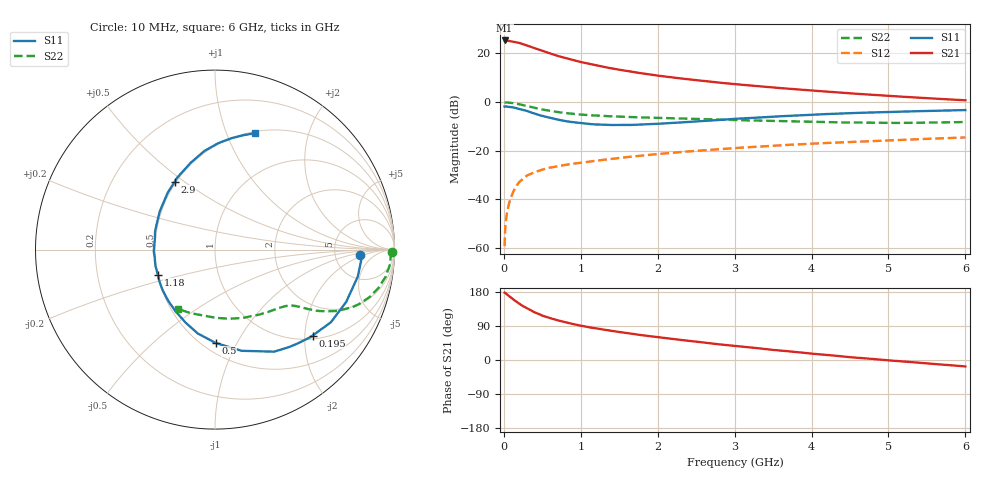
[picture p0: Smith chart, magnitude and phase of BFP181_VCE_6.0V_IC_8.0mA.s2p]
! Infineon Technologies  Discrete & RF Semiconductors
! BFP181
! VCE = 6.0 V,  IC =  8.0 mA
! Common Emitter S-Parameters:  Jan 2016
# GHz  S  MA  R  50
!  f  S11  S21  S12  S22
! GHz  MAG  ANG  MAG  ANG  MAG  ANG  MAG  ANG
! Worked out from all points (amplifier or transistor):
!   210 points, 10 MHz to 6 GHz, reference 50 ohm
!   highest |S21| = 25.3 dB at 10 MHz (marker M1)
!   |S21| within 3 dB of that: start of sweep to 386.1 MHz
!   unconditionally stable (mu >= 1): 1.439 GHz to end of sweep
!   at 185 MHz: K = 0.22, MSG = 28.9 dB, |S12| = -33.5 dB
!   at 1.52 GHz: K = 1.02, MAG = 17.3 dB, |S12| = -22.9 dB
!   at 6 GHz: K = 1.03, MAG = 6.5 dB, |S12| = -14.5 dB
!   S11 on the Smith chart (normalised r, x): 10 MHz: 9.21, -1.58; 195 MHz: 1.08, -2.19; 500 MHz: 0.58, -0.83; 1.18 GHz: 0.50, -0.16; 2.9 GHz: 0.49, +0.46; 6 GHz: 0.52, +1.26
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0.01  0.8093 -2.1  18.41 177.7  0.0011 91.8  0.9851 -0.8
0.035  0.8119 -7.5  18.2 174.1  0.0046 87.3  0.9793 -3.2
0.05  0.8098 -10.7  18.2 171.5  0.0063 85.5  0.9795 -4.7
0.1  0.7868 -21.8  17.62 163.5  0.0119 77.7  0.9616 -9.2
0.15  0.762 -32.1  17.04 155.8  0.0175 73.5  0.9345 -13.3
0.195  0.7245 -41.4  16.45 149.3  0.0223 69.2  0.9048 -16.6
0.24  0.6942 -49.4  15.58 143.3  0.0258 65.7  0.8715 -19.6
0.3  0.6573 -59.9  14.54 136.6  0.0309 61.5  0.8291 -22.8
0.4  0.5829 -75.3  12.82 125.7  0.0363 57.0  0.7609 -26.7
0.5  0.5206 -89.5  11.24 117.2  0.041 53.0  0.7035 -29.3
0.6  0.4771 -101.6  10.01 110.4  0.0451 50.5  0.6588 -31.1
0.7  0.438 -112.1  8.851 104.6  0.0479 49.2  0.6233 -32.3
0.8  0.4069 -123.0  8.032 99.3  0.0513 48.0  0.5957 -33.2
1.02  0.3665 -143.6  6.541 89.8  0.0572 46.9  0.5513 -34.8
1.18  0.3478 -156.3  5.763 84.1  0.0619 46.0  0.5307 -36.0
1.5  0.3415 -178.4  4.623 73.8  0.0712 45.5  0.5023 -38.8
2.02  0.3595 152.6  3.461 59.8  0.086 43.7  0.4735 -44.5
2.9  0.4403 120.6  2.421 39.3  0.1109 39.0  0.433 -57.3
3.1  0.4607 115.2  2.265 35.3  0.1163 37.7  0.4239 -60.6
4.1  0.5599 94.5  1.683 15.1  0.1424 30.5  0.3903 -79.8
5.1  0.6333 80.4  1.311 -2.4  0.1656 23.6  0.3732 -101.8
6  0.6854 71.1  1.088 -17.0  0.1877 17.0  0.3902 -122.2
